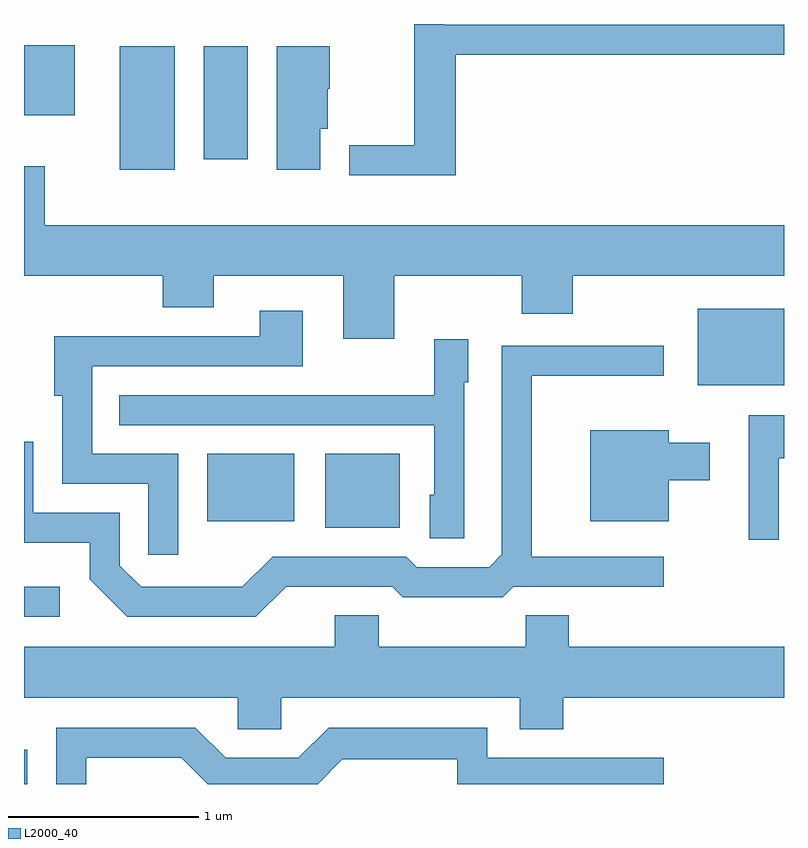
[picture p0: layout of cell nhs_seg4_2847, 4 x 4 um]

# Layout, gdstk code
import gdstk
lib = gdstk.Library(unit=1e-6, precision=1e-09)
def R(c, l, rs):  # rectangles x0, y0, x1, y1
    for r in rs: c.add(gdstk.rectangle(r[:2], r[2:], *l))
def P(c, l, *ps):  # polygons
    for p in ps: c.add(gdstk.Polygon(p, *l))
L2000_40 = (2000, 40)

nhs_seg4_2847 = lib.new_cell('nhs_seg4_2847')
R(nhs_seg4_2847, L2000_40, [(267.611,1371.982,267.629,1372.163), (267.611,1372.861,267.798,1373.019), (269.196,1373.331,269.589,1373.719), (268.576,1373.366,269.034,1373.719), (271.156,1374.081,271.611,1374.484), (268.116,1375.216,268.404,1375.864), (268.556,1375.271,268.789,1375.864), (267.611,1375.501,267.879,1375.869)])
P(nhs_seg4_2847, L2000_40, [(269.884,1375.821),(271.611,1375.821),(271.611,1375.979),(269.824,1375.979),(269.824,1375.982),(269.666,1375.982),(269.666,1375.344),(269.323,1375.344),(269.323,1375.186),(269.884,1375.186)],
  [(269.169,1375.431),(269.209,1375.431),(269.209,1375.64),(269.219,1375.64),(269.219,1375.864),(268.941,1375.864),(268.941,1375.216),(269.169,1375.216)],
  [(267.719,1375.234),(267.611,1375.234),(267.611,1374.656),(268.341,1374.656),(268.341,1374.491),(268.609,1374.491),(268.609,1374.656),(269.291,1374.656),(269.291,1374.326),(269.559,1374.326),(269.559,1374.656),(270.231,1374.656),(270.231,1374.456),(270.499,1374.456),(270.499,1374.656),(271.611,1374.656),(271.611,1374.924),(267.719,1374.924)],
  [(268.424,1373.719),(267.969,1373.719),(267.969,1374.181),(269.079,1374.181),(269.079,1374.474),(268.851,1374.474),(268.851,1374.339),(267.771,1374.339),(267.771,1374.026),(267.811,1374.026),(267.811,1373.561),(268.266,1373.561),(268.266,1373.188),(268.424,1373.188)],
  [(269.929,1374.096),(269.949,1374.096),(269.949,1374.324),(269.771,1374.324),(269.771,1374.029),(268.113,1374.029),(268.113,1373.871),(269.771,1373.871),(269.771,1373.504),(269.746,1373.504),(269.746,1373.276),(269.929,1373.276)],
  [(268.992,1373.021),(269.549,1373.021),(269.604,1372.966),(270.132,1372.966),(270.187,1373.021),(270.978,1373.021),(270.978,1373.179),(270.284,1373.179),(270.284,1374.131),(270.978,1374.131),(270.978,1374.289),(270.126,1374.289),(270.126,1373.192),(270.059,1373.124),(269.677,1373.124),(269.622,1373.179),(268.919,1373.179),(268.759,1373.019),(268.227,1373.019),(268.114,1373.132),(268.114,1373.409),(267.659,1373.409),(267.659,1373.783),(267.611,1373.783),(267.611,1373.251),(267.956,1373.251),(267.956,1373.059),(268.154,1372.861),(268.832,1372.861)],
  [(271.584,1373.696),(271.611,1373.696),(271.611,1373.924),(271.426,1373.924),(271.426,1373.268),(271.584,1373.268)],
  [(271.004,1373.581),(271.219,1373.581),(271.219,1373.779),(271.004,1373.779),(271.004,1373.844),(270.591,1373.844),(270.591,1373.366),(271.004,1373.366)],
  [(268.964,1372.436),(270.221,1372.436),(270.221,1372.271),(270.449,1372.271),(270.449,1372.436),(271.611,1372.436),(271.611,1372.704),(270.479,1372.704),(270.479,1372.869),(270.251,1372.869),(270.251,1372.704),(269.479,1372.704),(269.479,1372.869),(269.246,1372.869),(269.246,1372.704),(267.611,1372.704),(267.611,1372.436),(268.736,1372.436),(268.736,1372.271),(268.964,1372.271)],
  [(267.939,1372.121),(268.439,1372.121),(268.578,1371.982),(269.158,1371.982),(269.287,1372.111),(269.891,1372.111),(269.891,1371.982),(270.978,1371.982),(270.978,1372.119),(270.049,1372.119),(270.049,1372.279),(269.214,1372.279),(269.054,1372.119),(268.672,1372.119),(268.512,1372.279),(267.781,1372.279),(267.781,1371.982),(267.939,1371.982)])

lib.write_gds('nhs_seg4_2847.gds')
